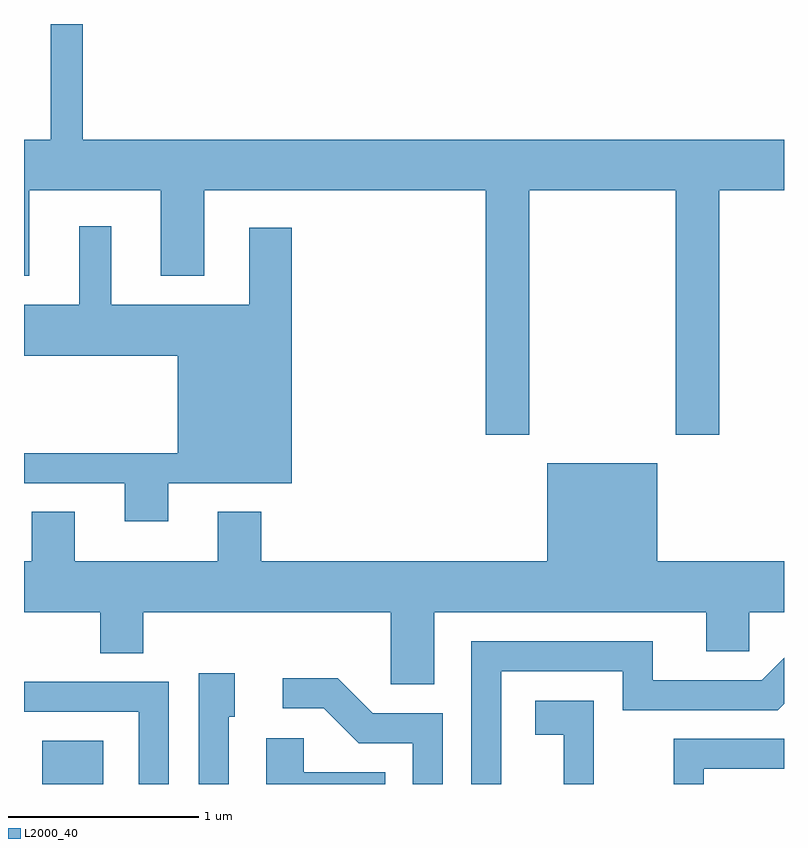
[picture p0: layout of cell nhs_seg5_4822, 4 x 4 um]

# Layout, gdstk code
import gdstk
lib = gdstk.Library(unit=1e-6, precision=1e-09)
def R(c, l, rs):  # rectangles x0, y0, x1, y1
    for r in rs: c.add(gdstk.rectangle(r[:2], r[2:], *l))
def P(c, l, *ps):  # polygons
    for p in ps: c.add(gdstk.Polygon(p, *l))
L2000_40 = (2000, 40)

nhs_seg5_4822 = lib.new_cell('nhs_seg5_4822')
R(nhs_seg5_4822, L2000_40, [(327.706,1498.072,328.029,1498.299)])
P(nhs_seg5_4822, L2000_40, [(330.269,1501.196),(331.041,1501.196),(331.041,1499.911),(331.269,1499.911),(331.269,1501.196),(331.611,1501.196),(331.611,1501.464),(327.919,1501.464),(327.919,1502.072),(327.751,1502.072),(327.751,1501.464),(327.611,1501.464),(327.611,1500.746),(327.639,1500.746),(327.639,1501.196),(328.331,1501.196),(328.331,1500.746),(328.559,1500.746),(328.559,1501.196),(330.041,1501.196),(330.041,1499.911),(330.269,1499.911)],
  [(328.369,1499.656),(329.019,1499.656),(329.019,1500.999),(328.796,1500.999),(328.796,1500.594),(328.069,1500.594),(328.069,1501.008),(327.901,1501.008),(327.901,1500.594),(327.611,1500.594),(327.611,1500.326),(328.421,1500.326),(328.421,1499.814),(327.611,1499.814),(327.611,1499.656),(328.141,1499.656),(328.141,1499.456),(328.369,1499.456)],
  [(329.769,1498.976),(331.201,1498.976),(331.201,1498.771),(331.429,1498.771),(331.429,1498.976),(331.611,1498.976),(331.611,1499.244),(330.944,1499.244),(330.944,1499.759),(330.366,1499.759),(330.366,1499.244),(328.859,1499.244),(328.859,1499.504),(328.631,1499.504),(328.631,1499.244),(327.879,1499.244),(327.879,1499.504),(327.651,1499.504),(327.651,1499.244),(327.611,1499.244),(327.611,1498.976),(328.011,1498.976),(328.011,1498.761),(328.239,1498.761),(328.239,1498.976),(329.541,1498.976),(329.541,1498.596),(329.769,1498.596)],
  [(330.124,1498.666),(330.761,1498.666),(330.761,1498.461),(331.577,1498.461),(331.611,1498.495),(331.611,1498.736),(331.494,1498.619),(330.919,1498.619),(330.919,1498.824),(329.966,1498.824),(329.966,1498.072),(330.124,1498.072)],
  [(328.689,1498.426),(328.719,1498.426),(328.719,1498.654),(328.531,1498.654),(328.531,1498.072),(328.689,1498.072)],
  [(329.814,1498.444),(329.447,1498.444),(329.262,1498.629),(328.973,1498.629),(328.973,1498.471),(329.189,1498.471),(329.374,1498.286),(329.656,1498.286),(329.656,1498.072),(329.814,1498.072)],
  [(328.374,1498.609),(327.611,1498.609),(327.611,1498.451),(328.216,1498.451),(328.216,1498.072),(328.374,1498.072)],
  [(330.609,1498.509),(330.301,1498.509),(330.301,1498.331),(330.451,1498.331),(330.451,1498.072),(330.609,1498.072)],
  [(329.513,1498.134),(329.084,1498.134),(329.084,1498.314),(328.886,1498.314),(328.886,1498.072),(329.513,1498.072)],
  [(331.189,1498.151),(331.611,1498.151),(331.611,1498.309),(331.031,1498.309),(331.031,1498.072),(331.189,1498.072)])

lib.write_gds('nhs_seg5_4822.gds')
